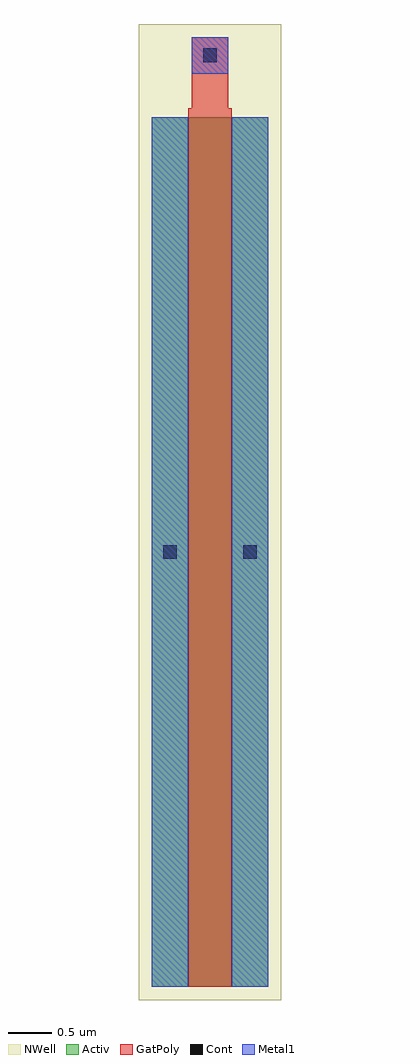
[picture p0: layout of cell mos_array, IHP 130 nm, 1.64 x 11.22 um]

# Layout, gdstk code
import gdstk
lib = gdstk.Library(unit=1e-6, precision=1e-09)
def R(c, l, rs):  # rectangles x0, y0, x1, y1
    for r in rs: c.add(gdstk.rectangle(r[:2], r[2:], *l))
Activ = (1, 0)
GatPoly = (5, 0)
Cont = (6, 0)
Metal1 = (8, 0)
NWell = (31, 0)

mos_array = lib.new_cell('mos_array')
R(mos_array, Activ, [(0,0,1.34,10)])
R(mos_array, GatPoly, [(0.42,0,0.92,10), (0.42,10,0.92,10.1), (0.46,10.1,0.88,10.92)])
R(mos_array, Cont, [(0.13,4.92,0.29,5.08), (1.05,4.92,1.21,5.08), (0.59,10.63,0.75,10.79)])
R(mos_array, Metal1, [(0,0,0.42,10), (0.92,0,1.34,10), (0.46,10.5,0.88,10.92)])
R(mos_array, NWell, [(-0.15,-0.15,1.49,11.07)])

lib.write_gds('mos_array.gds')
